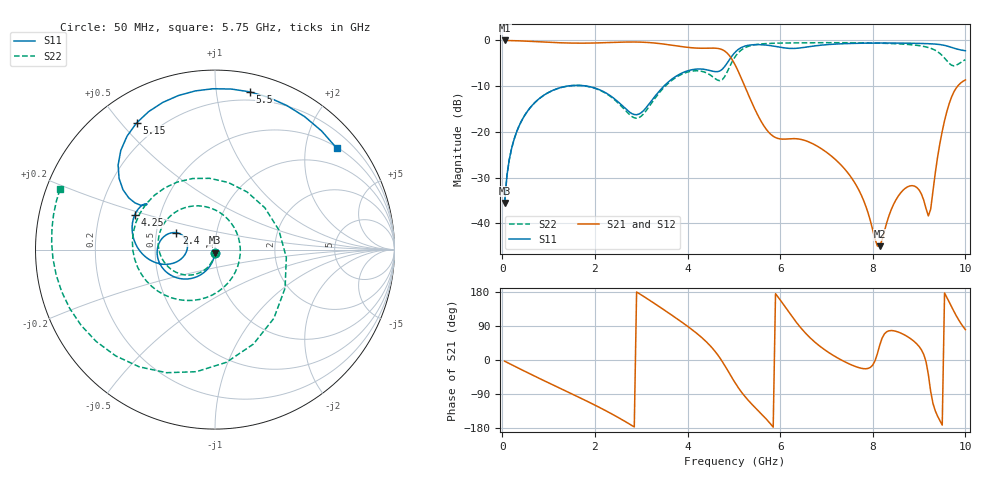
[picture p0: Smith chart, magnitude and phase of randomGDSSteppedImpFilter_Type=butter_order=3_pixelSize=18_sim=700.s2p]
! freq	dB(S11)	phase(S11)	dB(S12)	phase(S12)
!  dB(S21)	phase(S21)	dB(S22)	phase(S22)
!S-par simulation data
#  GHz  S  DB  R 50
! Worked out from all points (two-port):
!   200 points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, 50 MHz to 10 GHz, reference 50 ohm
!   highest |S21| = -0.01 dB at 50 MHz (marker M1); lowest = -45.0 dB at 8.15 GHz (marker M2)
!   |S21| within 3 dB of the highest: start of sweep to 4.876 GHz
!   lowest |S11| = -35.6 dB at 50 MHz (marker M3), VSWR 1.03, Z = 49.9 - j1.66 ohm
!   |S11| at or under -10 dB: start of sweep to 1.396 GHz; 1.83 GHz to 3.49 GHz (1.66 GHz wide, 62.4 % of centre)
!   |S22| runs from -35.6 to -0.5 dB; largest |S21 - S12| = 0
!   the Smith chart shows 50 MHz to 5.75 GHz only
!   S11 on the Smith chart (normalised r, x): 50 MHz: 1.00, -0.03; 2.4 GHz: 0.64, +0.13; 4.25 GHz: 0.36, +0.18; 5.15 GHz: 0.12, +0.55; 5.5 GHz: 0.13, +1.24; 5.75 GHz: 0.52, +2.68
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0.05  -35.56 -92.6  -0.01 -3.1  -0.01 -3.1  -35.57 -93.2
0.5  -16.13 -118.6  -0.15 -30.7  -0.15 -30.7  -16.14 -123.8
1.75  -9.89 178.6  -0.60 -104.0  -0.60 -104.0  -9.93 152.6
2.4  -12.59 156.4  -0.43 -144.7  -0.43 -144.7  -12.76 94.7
3.4  -10.97 -163.1  -0.69 139.9  -0.69 139.9  -11.33 -100.2
4.25  -6.25 156.7  -1.70 65.2  -1.70 65.2  -6.66 154.1
4.8  -5.74 149.7  -2.30 -13.7  -2.30 -13.7  -7.96 -6.4
5.05  -2.36 133.5  -5.80 -64.5  -5.80 -64.5  -3.25 -98.7
5.15  -1.62 121.8  -8.00 -82.3  -8.00 -82.3  -2.18 -122.9
5.5  -0.91 77.5  -16.00 -130.6  -16.00 -130.6  -0.87 -177.0
5.75  -1.08 39.7  -20.05 -162.7  -20.05 -162.7  -0.66 158.6
6  -1.49 -10.1  -21.55 158.6  -21.55 158.6  -0.58 139.0
6.25  -1.76 -71.6  -21.49 115.7  -21.49 115.7  -0.54 122.0
6.7  -1.26 -165.4  -22.58 52.5  -22.58 52.5  -0.51 94.6
7.35  -0.72 123.6  -27.63 -1.9  -27.63 -1.9  -0.50 57.5
8.15  -0.57 70.8  -45.00 39.0  -45.00 39.0  -0.60 11.3
8.35  -0.57 59.4  -38.33 77.1  -38.33 77.1  -0.66 -1.2
8.85  -0.62 32.1  -31.76 53.2  -31.76 53.2  -0.96 -37.6
9.2  -0.71 12.9  -38.38 -38.2  -38.38 -38.2  -1.56 -75.2
9.6  -1.21 -10.8  -15.53 165.0  -15.53 165.0  -4.46 -173.0
9.8  -1.84 -21.1  -10.43 117.5  -10.43 117.5  -5.44 93.8
10  -2.26 -29.9  -8.63 80.1  -8.63 80.1  -4.20 27.2
